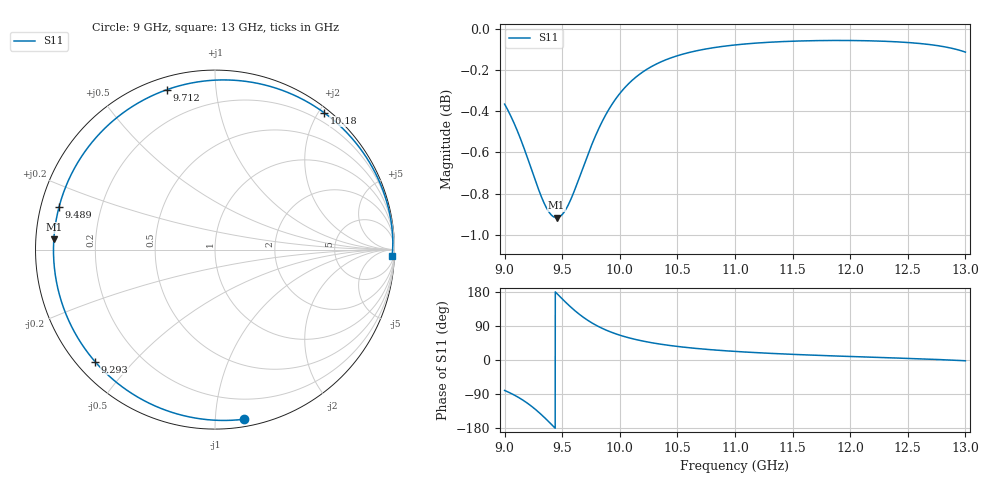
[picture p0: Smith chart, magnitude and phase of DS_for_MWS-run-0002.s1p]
! TOUCHSTONE file generated by CST DESIGN STUDIO
! Date and time: Tue Feb  4 17:14:49 2025
! Project name: C:\Work\MatlabApps\UnitCellOptimizationMatlab\CST\unitcell.cst
! Tree item: Tasks\Sweep1\SPara1\S-Parameters
! Header version: 2024
! Port assignment regex: !\s*Touchstone port\s*([0-9]+)\s*=\s*(CST MWS port|CST DES external port|CST DES block port)\s*(.+)\s* \(\"(.*)\"\)(\s*mode\s*([0-9]+))?.*
! Touchstone port assignment:
! Touchstone port 1 = CST DES external port 1 ("")
# GHz S MA R 50
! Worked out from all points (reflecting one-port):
!   4001 points, 9 GHz to 13 GHz, reference 50 ohm
!   lowest |S11| = -0.9 dB at 9.451 GHz (marker M1), VSWR 18.96, Z = 2.64 + j1.61 ohm
!   phase of S11 starts at -80 deg and turns -282 deg over the sweep
!   S11 on the Smith chart (normalised r, x): 9 GHz: 0.05, -1.18; 9.293 GHz: 0.05, -0.39; 9.489 GHz: 0.05, +0.13; 9.712 GHz: 0.06, +0.74; 10.18 GHz: 0.07, +2.07; 13 GHz: 18, -50
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9  0.9589 -80.3
9.09  0.9476 -93.5
9.164  0.9363 -106.9
9.23  0.925 -121.2
9.293  0.9144 -137.0
9.338  0.9078 -149.5
9.377  0.9034 -161.0
9.414  0.9007 -172.2
9.451  0.8998 176.3
9.489  0.9008 164.6
9.5  0.9014 161.3
9.555  0.9066 145.1
9.606  0.9135 131.2
9.658  0.9217 118.5
9.712  0.9305 106.7
9.778  0.9405 94.4
9.855  0.9505 82.4
9.926  0.9581 73.4
10  0.9646 65.5
10.177  0.9753 51.4
10.324  0.9808 43.2
10.5  0.9852 35.8
10.723  0.9886 28.9
11  0.9911 22.7
11.5  0.9932 14.9
12  0.9936 9.2
12.5  0.9925 4.2
13  0.9872 -2.0
